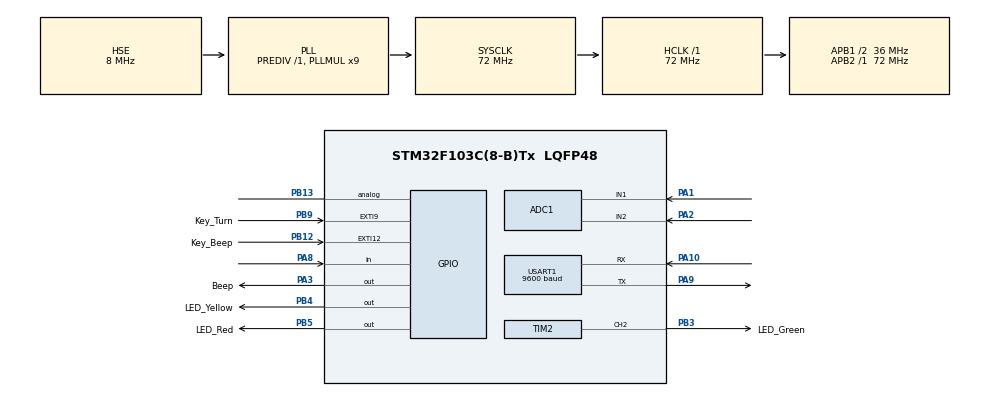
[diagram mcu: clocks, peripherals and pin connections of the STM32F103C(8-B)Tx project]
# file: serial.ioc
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ADC1.Channel-2\#ChannelRegularConversion=ADC_CHANNEL_1
ADC1.Channel-3\#ChannelRegularConversion=ADC_CHANNEL_2
ADC1.ContinuousConvMode=ENABLE
ADC1.NbrOfConversion=2
ADC1.NbrOfConversionFlag=1
ADC1.Rank-2\#ChannelRegularConversion=1
ADC1.Rank-3\#ChannelRegularConversion=2
ADC1.SamplingTime-2\#ChannelRegularConversion=ADC_SAMPLETIME_71CYCLES_5
ADC1.SamplingTime-3\#ChannelRegularConversion=ADC_SAMPLETIME_71CYCLES_5
ADC1.master=1
Dma.ADC1.0.Direction=DMA_PERIPH_TO_MEMORY
Dma.ADC1.0.Instance=DMA1_Channel1
Dma.ADC1.0.MemDataAlignment=DMA_MDATAALIGN_HALFWORD
Dma.ADC1.0.MemInc=DMA_MINC_ENABLE
Dma.ADC1.0.Mode=DMA_CIRCULAR
Dma.ADC1.0.PeriphDataAlignment=DMA_PDATAALIGN_HALFWORD
Dma.ADC1.0.PeriphInc=DMA_PINC_DISABLE
Dma.ADC1.0.Priority=DMA_PRIORITY_LOW
Dma.Request0=ADC1
Mcu.Family=STM32F1
Mcu.Name=STM32F103C(8-B)Tx
Mcu.Package=LQFP48
NVIC.ADC1_2_IRQn=true\:1\:0\:true\:false\:true\:true\:true\:true
NVIC.DMA1_Channel1_IRQn=true\:1\:0\:true\:false\:true\:false\:true\:true
NVIC.EXTI15_10_IRQn=true\:12\:0\:true\:false\:true\:true\:true\:true
NVIC.EXTI9_5_IRQn=true\:9\:0\:true\:false\:true\:true\:true\:true
NVIC.PriorityGroup=NVIC_PRIORITYGROUP_4
NVIC.USART1_IRQn=true\:0\:0\:false\:false\:true\:true\:true\:true
PA1.Signal=ADCx_IN1
PA10.Mode=Asynchronous
PA10.Signal=USART1_RX
PA13.Mode=Serial_Wire
PA13.Signal=SYS_JTMS-SWDIO
PA14.Mode=Serial_Wire
PA14.Signal=SYS_JTCK-SWCLK
PA2.Signal=ADCx_IN2
PA3.GPIO_Label=Beep
PA3.PinState=GPIO_PIN_SET
PA3.Signal=GPIO_Output
PA8.GPIO_PuPd=GPIO_PULLUP
PA8.Signal=GPIO_Input
PA9.Mode=Asynchronous
PA9.Signal=USART1_TX
PB12.GPIO_Label=Key_Beep
PB12.GPIO_ModeDefaultEXTI=GPIO_MODE_IT_FALLING
PB12.GPIO_PuPd=GPIO_PULLUP
PB12.Signal=GPXTI12
PB13.Signal=GPIO_Analog
PB3.GPIO_Label=LED_Green
PB3.Signal=S_TIM2_CH2
PB4.GPIO_Label=LED_Yellow
PB4.Signal=GPIO_Output
PB5.GPIO_Label=LED_Red
PB5.Signal=GPIO_Output
PB9.GPIO_Label=Key_Turn
PB9.GPIO_ModeDefaultEXTI=GPIO_MODE_IT_FALLING
PB9.GPIO_PuPd=GPIO_PULLUP
PB9.Signal=GPXTI9
PC14-OSC32_IN.Mode=LSE-External-Oscillator
PC14-OSC32_IN.Signal=RCC_OSC32_IN
PC15-OSC32_OUT.Mode=LSE-External-Oscillator
PC15-OSC32_OUT.Signal=RCC_OSC32_OUT
PD0-OSC_IN.Mode=HSE-External-Oscillator
PD0-OSC_IN.Signal=RCC_OSC_IN
PD1-OSC_OUT.Mode=HSE-External-Oscillator
PD1-OSC_OUT.Signal=RCC_OSC_OUT
ProjectManager.HeapSize=0x200
ProjectManager.StackSize=0x400
ProjectManager.TargetToolchain=STM32CubeIDE
RCC.ADCPresc=RCC_ADCPCLK2_DIV6
RCC.AHBFreq_Value=72000000
RCC.APB1CLKDivider=RCC_HCLK_DIV2
RCC.APB1Freq_Value=36000000
RCC.APB1TimFreq_Value=72000000
RCC.APB2Freq_Value=72000000
RCC.APB2TimFreq_Value=72000000
RCC.HCLKFreq_Value=72000000
RCC.PLLMUL=RCC_PLL_MUL9
RCC.PLLSourceVirtual=RCC_PLLSOURCE_HSE
RCC.SYSCLKFreq_VALUE=72000000
RCC.SYSCLKSource=RCC_SYSCLKSOURCE_PLLCLK
RCC.USBFreq_Value=72000000
SH.ADCx_IN1.0=ADC1_IN1,IN1
SH.ADCx_IN2.0=ADC1_IN2,IN2
SH.S_TIM2_CH2.0=TIM2_CH2,PWM Generation2 CH2
TIM2.Channel-PWM\ Generation2\ CH2=TIM_CHANNEL_2
TIM2.Period=499
TIM2.Prescaler=71
USART1.BaudRate=9600
USART1.VirtualMode=VM_ASYNC
VP_TIM2_VS_ClockSourceINT.Mode=Internal
board=custom

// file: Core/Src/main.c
/* USER CODE BEGIN Header */
/**
  ******************************************************************************
  * @file           : main.c
  * @brief          : Main program body
  ******************************************************************************
  * @attention
  *
  * Copyright (c) 2024 STMicroelectronics.
  * All rights reserved.
  *
  * This software is licensed under terms that can be found in the LICENSE file
  * in the root directory of this software component.
  * If no LICENSE file comes with this software, it is provided AS-IS.
  *
  ******************************************************************************
  */
/* USER CODE END Header */
#include "main.h"

/* USER CODE BEGIN Includes */
#include <string.h>
#include <stdio.h>
#include "beep.h"
#include "LED.h"
#include "test.h"
#include "Sample.h"
#include "Temp.h"
#include "MyUsart.h"
#include "Mic_Mode.h"
#include "Pwm_LED.h"
#include "Operation_code.h"
#include "math.h"
/* USER CODE END Includes */

ADC_HandleTypeDef hadc1;
DMA_HandleTypeDef hdma_adc1;

TIM_HandleTypeDef htim2;

UART_HandleTypeDef huart1;

void SystemClock_Config(void);
static void MX_GPIO_Init(void);
static void MX_DMA_Init(void);
static void MX_USART1_UART_Init(void);
static void MX_ADC1_Init(void);
static void MX_TIM2_Init(void);

/* USER CODE BEGIN 0 */
float temperature_Main = 0.0;
char shutDown[50] = "\n\r/**-----关机-----**/\r\n";
uint16_t ADC_Values[2];
uint8_t KeyNumber = 0;
uint8_t alarmState = 1;
uint16_t sample_Main = 0;
/* USER CODE END 0 */

int main(void)
{

  /* MCU Configuration--------------------------------------------------------*/

  /* Reset of all peripherals, Initializes the Flash interface and the Systick. */
  HAL_Init();

  /* Configure the system clock */
  SystemClock_Config();

  /* Initialize all configured peripherals */
  MX_GPIO_Init();
  MX_DMA_Init();
  MX_USART1_UART_Init();
  MX_ADC1_Init();
  MX_TIM2_Init();
  /* USER CODE BEGIN 2 */
  HAL_ADCEx_Calibration_Start(&hadc1);
  HAL_ADC_Start_DMA(&hadc1, (uint32_t*)ADC_Values, 2);
  HAL_TIM_PWM_Start(&htim2, TIM_CHANNEL_2);
  /* USER CODE END 2 */

  /* Infinite loop */
  /* USER CODE BEGIN WHILE */
  while (1)
  {
	  Operation_code();
	 //Test_Modules();/*这是�??????????个测试程�??????????*/
    /* USER CODE END WHILE */

  }
}

void SystemClock_Config(void)
{
  RCC_OscInitTypeDef RCC_OscInitStruct = {0};
  RCC_ClkInitTypeDef RCC_ClkInitStruct = {0};
  RCC_PeriphCLKInitTypeDef PeriphClkInit = {0};

  /** Initializes the RCC Oscillators according to the specified parameters
  * in the RCC_OscInitTypeDef structure.
  */
  RCC_OscInitStruct.OscillatorType = RCC_OSCILLATORTYPE_HSE;
  RCC_OscInitStruct.HSEState = RCC_HSE_ON;
  RCC_OscInitStruct.HSEPredivValue = RCC_HSE_PREDIV_DIV1;
  RCC_OscInitStruct.HSIState = RCC_HSI_ON;
  RCC_OscInitStruct.PLL.PLLState = RCC_PLL_ON;
  RCC_OscInitStruct.PLL.PLLSource = RCC_PLLSOURCE_HSE;
  RCC_OscInitStruct.PLL.PLLMUL = RCC_PLL_MUL9;
  if (HAL_RCC_OscConfig(&RCC_OscInitStruct) != HAL_OK)
  {
    Error_Handler();
  }

  /** Initializes the CPU, AHB and APB buses clocks
  */
  RCC_ClkInitStruct.ClockType = RCC_CLOCKTYPE_HCLK|RCC_CLOCKTYPE_SYSCLK
                              |RCC_CLOCKTYPE_PCLK1|RCC_CLOCKTYPE_PCLK2;
  RCC_ClkInitStruct.SYSCLKSource = RCC_SYSCLKSOURCE_PLLCLK;
  RCC_ClkInitStruct.AHBCLKDivider = RCC_SYSCLK_DIV1;
  RCC_ClkInitStruct.APB1CLKDivider = RCC_HCLK_DIV2;
  RCC_ClkInitStruct.APB2CLKDivider = RCC_HCLK_DIV1;

  if (HAL_RCC_ClockConfig(&RCC_ClkInitStruct, FLASH_LATENCY_2) != HAL_OK)
  {
    Error_Handler();
  }
  PeriphClkInit.PeriphClockSelection = RCC_PERIPHCLK_ADC;
  PeriphClkInit.AdcClockSelection = RCC_ADCPCLK2_DIV6;
  if (HAL_RCCEx_PeriphCLKConfig(&PeriphClkInit) != HAL_OK)
  {
    Error_Handler();
  }
}

static void MX_ADC1_Init(void)
{

  ADC_ChannelConfTypeDef sConfig = {0};

  /** Common config
  */
  hadc1.Instance = ADC1;
  hadc1.Init.ScanConvMode = ADC_SCAN_ENABLE;
  hadc1.Init.ContinuousConvMode = ENABLE;
  hadc1.Init.DiscontinuousConvMode = DISABLE;
  hadc1.Init.ExternalTrigConv = ADC_SOFTWARE_START;
  hadc1.Init.DataAlign = ADC_DATAALIGN_RIGHT;
  hadc1.Init.NbrOfConversion = 2;
  if (HAL_ADC_Init(&hadc1) != HAL_OK)
  {
    Error_Handler();
  }

  /** Configure Regular Channel
  */
  sConfig.Channel = ADC_CHANNEL_1;
  sConfig.Rank = ADC_REGULAR_RANK_1;
  sConfig.SamplingTime = ADC_SAMPLETIME_71CYCLES_5;
  if (HAL_ADC_ConfigChannel(&hadc1, &sConfig) != HAL_OK)
  {
    Error_Handler();
  }

  /** Configure Regular Channel
  */
  sConfig.Channel = ADC_CHANNEL_2;
  sConfig.Rank = ADC_REGULAR_RANK_2;
  if (HAL_ADC_ConfigChannel(&hadc1, &sConfig) != HAL_OK)
  {
    Error_Handler();
  }

}

static void MX_TIM2_Init(void)
{

  TIM_ClockConfigTypeDef sClockSourceConfig = {0};
  TIM_MasterConfigTypeDef sMasterConfig = {0};
  TIM_OC_InitTypeDef sConfigOC = {0};

  htim2.Instance = TIM2;
  htim2.Init.Prescaler = 71;
  htim2.Init.CounterMode = TIM_COUNTERMODE_UP;
  htim2.Init.Period = 499;
  htim2.Init.ClockDivision = TIM_CLOCKDIVISION_DIV1;
  htim2.Init.AutoReloadPreload = TIM_AUTORELOAD_PRELOAD_DISABLE;
  if (HAL_TIM_Base_Init(&htim2) != HAL_OK)
  {
    Error_Handler();
  }
  sClockSourceConfig.ClockSource = TIM_CLOCKSOURCE_INTERNAL;
  if (HAL_TIM_ConfigClockSource(&htim2, &sClockSourceConfig) != HAL_OK)
  {
    Error_Handler();
  }
  if (HAL_TIM_PWM_Init(&htim2) != HAL_OK)
  {
    Error_Handler();
  }
  sMasterConfig.MasterOutputTrigger = TIM_TRGO_RESET;
  sMasterConfig.MasterSlaveMode = TIM_MASTERSLAVEMODE_DISABLE;
  if (HAL_TIMEx_MasterConfigSynchronization(&htim2, &sMasterConfig) != HAL_OK)
  {
    Error_Handler();
  }
  sConfigOC.OCMode = TIM_OCMODE_PWM1;
  sConfigOC.Pulse = 0;
  sConfigOC.OCPolarity = TIM_OCPOLARITY_HIGH;
  sConfigOC.OCFastMode = TIM_OCFAST_DISABLE;
  if (HAL_TIM_PWM_ConfigChannel(&htim2, &sConfigOC, TIM_CHANNEL_2) != HAL_OK)
  {
    Error_Handler();
  }
  HAL_TIM_MspPostInit(&htim2);

}

static void MX_USART1_UART_Init(void)
{

  huart1.Instance = USART1;
  huart1.Init.BaudRate = 9600;
  huart1.Init.WordLength = UART_WORDLENGTH_8B;
  huart1.Init.StopBits = UART_STOPBITS_1;
  huart1.Init.Parity = UART_PARITY_NONE;
  huart1.Init.Mode = UART_MODE_TX_RX;
  huart1.Init.HwFlowCtl = UART_HWCONTROL_NONE;
  huart1.Init.OverSampling = UART_OVERSAMPLING_16;
  if (HAL_UART_Init(&huart1) != HAL_OK)
  {
    Error_Handler();
  }

}

static void MX_DMA_Init(void)
{

  /* DMA controller clock enable */
  __HAL_RCC_DMA1_CLK_ENABLE();

  /* DMA interrupt init */
  /* DMA1_Channel1_IRQn interrupt configuration */
  HAL_NVIC_SetPriority(DMA1_Channel1_IRQn, 1, 0);
  HAL_NVIC_EnableIRQ(DMA1_Channel1_IRQn);

}

static void MX_GPIO_Init(void)
{
  GPIO_InitTypeDef GPIO_InitStruct = {0};

  /* GPIO Ports Clock Enable */
  __HAL_RCC_GPIOC_CLK_ENABLE();
  __HAL_RCC_GPIOD_CLK_ENABLE();
  __HAL_RCC_GPIOA_CLK_ENABLE();
  __HAL_RCC_GPIOB_CLK_ENABLE();

  /*Configure GPIO pin Output Level */
  HAL_GPIO_WritePin(Beep_GPIO_Port, Beep_Pin, GPIO_PIN_SET);

  /*Configure GPIO pin Output Level */
  HAL_GPIO_WritePin(GPIOB, LED_Yellow_Pin|LED_Red_Pin, GPIO_PIN_RESET);

  /*Configure GPIO pin : Beep_Pin */
  GPIO_InitStruct.Pin = Beep_Pin;
  GPIO_InitStruct.Mode = GPIO_MODE_OUTPUT_PP;
  GPIO_InitStruct.Pull = GPIO_NOPULL;
  GPIO_InitStruct.Speed = GPIO_SPEED_FREQ_LOW;
  HAL_GPIO_Init(Beep_GPIO_Port, &GPIO_InitStruct);

  /*Configure GPIO pins : Key_Beep_Pin Key_Turn_Pin */
  GPIO_InitStruct.Pin = Key_Beep_Pin|Key_Turn_Pin;
  GPIO_InitStruct.Mode = GPIO_MODE_IT_FALLING;
  GPIO_InitStruct.Pull = GPIO_PULLUP;
  HAL_GPIO_Init(GPIOB, &GPIO_InitStruct);

  /*Configure GPIO pin : PB13 */
  GPIO_InitStruct.Pin = GPIO_PIN_13;
  GPIO_InitStruct.Mode = GPIO_MODE_ANALOG;
  HAL_GPIO_Init(GPIOB, &GPIO_InitStruct);

  /*Configure GPIO pin : PA8 */
  GPIO_InitStruct.Pin = GPIO_PIN_8;
  GPIO_InitStruct.Mode = GPIO_MODE_INPUT;
  GPIO_InitStruct.Pull = GPIO_PULLUP;
  HAL_GPIO_Init(GPIOA, &GPIO_InitStruct);

  /*Configure GPIO pins : LED_Yellow_Pin LED_Red_Pin */
  GPIO_InitStruct.Pin = LED_Yellow_Pin|LED_Red_Pin;
  GPIO_InitStruct.Mode = GPIO_MODE_OUTPUT_PP;
  GPIO_InitStruct.Pull = GPIO_NOPULL;
  GPIO_InitStruct.Speed = GPIO_SPEED_FREQ_LOW;
  HAL_GPIO_Init(GPIOB, &GPIO_InitStruct);

  /* EXTI interrupt init*/
  HAL_NVIC_SetPriority(EXTI9_5_IRQn, 9, 0);
  HAL_NVIC_EnableIRQ(EXTI9_5_IRQn);

  HAL_NVIC_SetPriority(EXTI15_10_IRQn, 12, 0);
  HAL_NVIC_EnableIRQ(EXTI15_10_IRQn);

}

void Error_Handler(void)
{
  __disable_irq();
  while (1)
  {
  }
}
